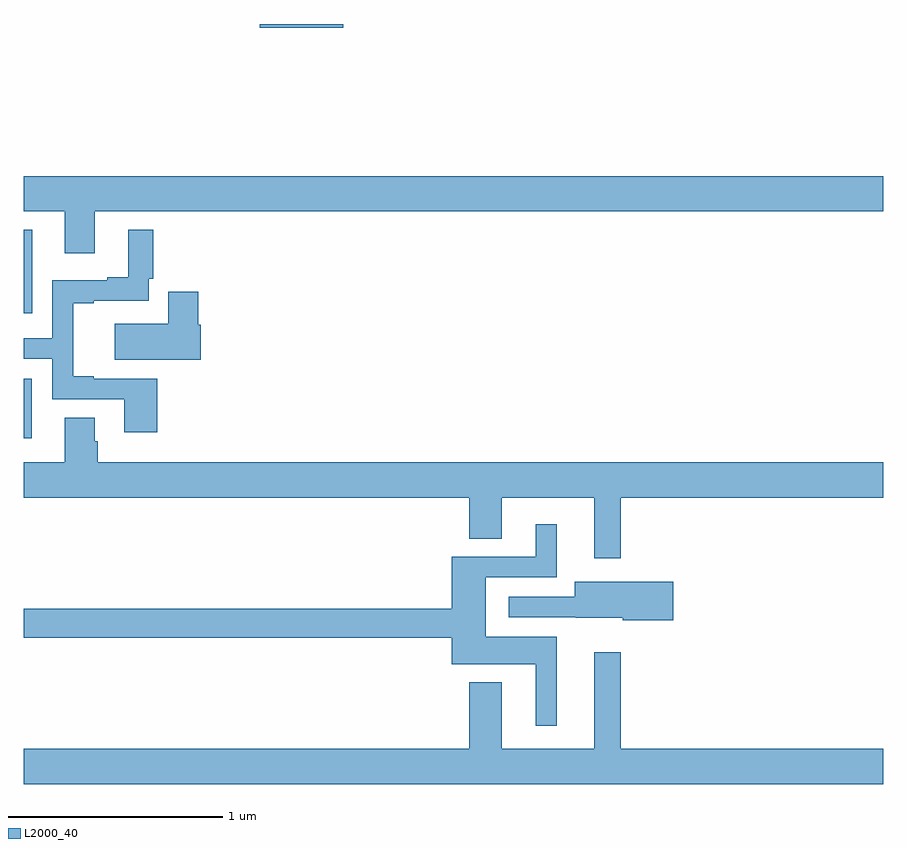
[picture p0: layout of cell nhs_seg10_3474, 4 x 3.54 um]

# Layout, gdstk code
import gdstk
lib = gdstk.Library(unit=1e-6, precision=1e-09)
def R(c, l, rs):  # rectangles x0, y0, x1, y1
    for r in rs: c.add(gdstk.rectangle(r[:2], r[2:], *l))
def P(c, l, *ps):  # polygons
    for p in ps: c.add(gdstk.Polygon(p, *l))
L2000_40 = (2000, 40)

nhs_seg10_3474 = lib.new_cell('nhs_seg10_3474')
R(nhs_seg10_3474, L2000_40, [(299,1320.573,299.038,1320.849), (299,1321.155,299.041,1321.543), (300.098,1322.483,300.487,1322.5)])
P(nhs_seg10_3474, L2000_40, [(299.332,1321.628),(303,1321.628),(303,1321.792),(299,1321.792),(299,1321.628),(299.192,1321.628),(299.192,1321.434),(299.332,1321.434)],
  [(299.621,1320.849),(299.326,1320.849),(299.326,1320.862),(299.231,1320.862),(299.231,1321.2),(299.326,1321.2),(299.326,1321.212),(299.583,1321.212),(299.583,1321.315),(299.603,1321.315),(299.603,1321.543),(299.486,1321.543),(299.486,1321.321),(299.39,1321.321),(299.39,1321.308),(299.133,1321.308),(299.133,1321.038),(299,1321.038),(299,1320.942),(299.133,1320.942),(299.133,1320.753),(299.468,1320.753),(299.468,1320.6),(299.621,1320.6)],
  [(299.825,1321.101),(299.813,1321.101),(299.813,1321.255),(299.672,1321.255),(299.672,1321.105),(299.424,1321.105),(299.424,1320.938),(299.825,1320.938)],
  [(301.777,1320.296),(303,1320.296),(303,1320.46),(299.345,1320.46),(299.345,1320.558),(299.332,1320.558),(299.332,1320.668),(299.192,1320.668),(299.192,1320.46),(299,1320.46),(299,1320.296),(301.073,1320.296),(301.073,1320.106),(301.225,1320.106),(301.225,1320.296),(301.655,1320.296),(301.655,1320.015),(301.777,1320.015)],
  [(301.48,1319.65),(301.15,1319.65),(301.15,1319.925),(301.48,1319.925),(301.48,1320.172),(301.382,1320.172),(301.382,1320.021),(300.992,1320.021),(300.992,1319.78),(299,1319.78),(299,1319.644),(300.992,1319.644),(300.992,1319.522),(301.382,1319.522),(301.382,1319.235),(301.48,1319.235)],
  [(302.023,1319.904),(301.565,1319.904),(301.565,1319.835),(301.257,1319.835),(301.257,1319.739),(301.569,1319.739),(301.569,1319.738),(301.788,1319.738),(301.788,1319.726),(302.023,1319.726)],
  [(303,1319.128),(301.777,1319.128),(301.777,1319.578),(301.655,1319.578),(301.655,1319.128),(301.225,1319.128),(301.225,1319.437),(301.073,1319.437),(301.073,1319.128),(299,1319.128),(299,1318.964),(303,1318.964)])

lib.write_gds('nhs_seg10_3474.gds')
